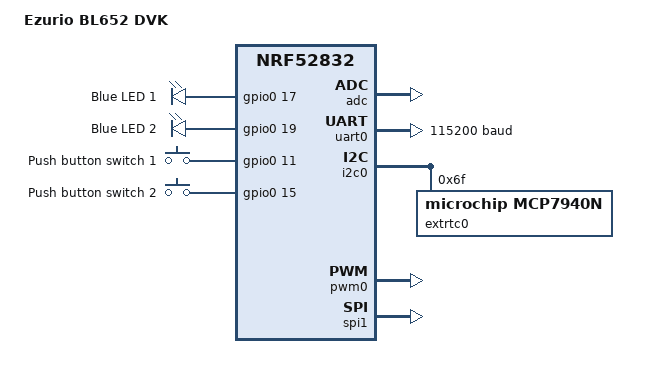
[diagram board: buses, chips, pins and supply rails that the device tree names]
/*
 * Copyright (c) 2019 Laird Connectivity
 * Copyright (c) 2023 Nordic Semiconductor ASA
 * Copyright (c) 2024 Ezurio
 *
 * SPDX-License-Identifier: Apache-2.0
 */

/dts-v1/;
#include <nordic/nrf52832_qfaa.dtsi>
#include "bl652_dvk-pinctrl.dtsi"
#include <zephyr/dt-bindings/input/input-event-codes.h>

/ {
	compatible = "ezurio,bl652_dvk";
	model = "Ezurio BL652 DVK";

	chosen {
		zephyr,console = &uart0;
		zephyr,shell-uart = &uart0;
		zephyr,uart-mcumgr = &uart0;
		zephyr,bt-mon-uart = &uart0;
		zephyr,bt-c2h-uart = &uart0;
		zephyr,sram = &sram0;
		zephyr,flash = &flash0;
		zephyr,code-partition = &slot0_partition;
	};

	leds {
		compatible = "gpio-leds";

		led1: led_1 {
			gpios = <&gpio0 17 GPIO_ACTIVE_HIGH>;
			label = "Blue LED 1";
		};

		led2: led_2 {
			gpios = <&gpio0 19 GPIO_ACTIVE_HIGH>;
			label = "Blue LED 2";
		};
	};

	buttons {
		compatible = "gpio-keys";

		button1: button_1 {
			gpios = <&gpio0 11 GPIO_PULL_UP>;
			label = "Push button switch 1";
			zephyr,code = <INPUT_KEY_0>;
		};

		button2: button_2 {
			gpios = <&gpio0 15 GPIO_PULL_UP>;
			label = "Push button switch 2";
			zephyr,code = <INPUT_KEY_1>;
		};
	};

	/* These aliases are provided for compatibility with samples */
	aliases {
		led0 = &led1;
		led1 = &led2;
		sw0 = &button1;
		sw1 = &button2;
		mcuboot-button0 = &button1;
		mcuboot-led0 = &led1;
		watchdog0 = &wdt0;
		bbram0 = &extrtc0;
	};
};

&reg {
	regulator-initial-mode = <NRF5X_REG_MODE_DCDC>;
};

&adc {
	status = "okay";
};

&uicr {
	gpio-as-nreset;
};

&gpiote {
	status = "okay";
};

&gpio0 {
	status = "okay";
};

&uart0 {
	compatible = "nordic,nrf-uart";
	current-speed = <115200>;
	pinctrl-0 = <&uart0_default>;
	pinctrl-1 = <&uart0_sleep>;
	pinctrl-names = "default", "sleep";
	status = "okay";
};

&i2c0 {
	compatible = "nordic,nrf-twi";

	pinctrl-0 = <&i2c0_default>;
	pinctrl-1 = <&i2c0_sleep>;
	pinctrl-names = "default", "sleep";
	status = "okay";

	dac0: mcp4725@60 {
		/* MCP4725 not populated at factory */
		compatible = "microchip,mcp4725";
		reg = <0x60>;
		#io-channel-cells = <1>;
		status = "disabled";
	};

	extrtc0: mcp7940n@6f {
		compatible = "microchip,mcp7940n";
		reg = <0x6f>;
		status = "okay";
	};
};

&pwm0 {
	pinctrl-0 = <&pwm0_default>;
	pinctrl-1 = <&pwm0_sleep>;
	pinctrl-names = "default", "sleep";
	status = "okay";
};

&spi0 {
	compatible = "nordic,nrf-spi";
	/* Cannot be used together with i2c0. */
	/* status = "okay"; */
	cs-gpios = <&gpio0 22 GPIO_ACTIVE_LOW>;
	pinctrl-0 = <&spi0_default>;
	pinctrl-1 = <&spi0_sleep>;
	pinctrl-names = "default", "sleep";
};

&spi1 {
	compatible = "nordic,nrf-spi";
	cs-gpios = <&gpio0 12 GPIO_ACTIVE_LOW>;
	pinctrl-0 = <&spi1_default>;
	pinctrl-1 = <&spi1_sleep>;
	pinctrl-names = "default", "sleep";
	status = "okay";
};

&flash0 {
	partitions {
		compatible = "fixed-partitions";
		#address-cells = <1>;
		#size-cells = <1>;

		boot_partition: partition@0 {
			reg = <0x00000000 0xc000>;
			label = "mcuboot";
		};

		slot0_partition: partition@c000 {
			reg = <0x0000C000 0x32000>;
			label = "image-0";
		};

		slot1_partition: partition@3e000 {
			reg = <0x0003E000 0x32000>;
			label = "image-1";
		};

		scratch_partition: partition@70000 {
			reg = <0x00070000 0xa000>;
			label = "image-scratch";
		};

		storage_partition: partition@7a000 {
			reg = <0x0007a000 0x00006000>;
			label = "storage";
		};
	};
};
